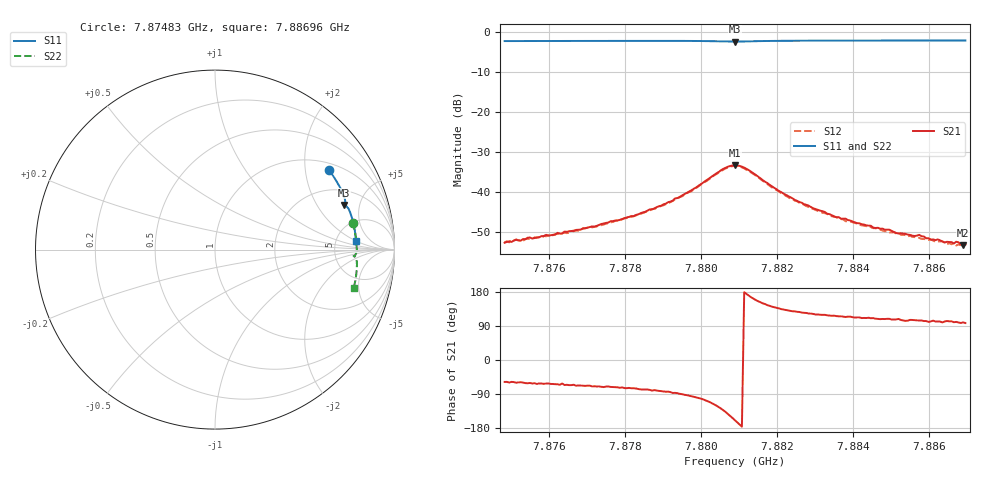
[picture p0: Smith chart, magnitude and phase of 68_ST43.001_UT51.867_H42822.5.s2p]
#  HZ  S  DB  R  50.00
! Rohde & Schwarz Vector Network Analyzer
! Rohde-Schwarz,ZNB20-2Port,1311601062101988,3.16
! Created: UTC 1/12/2023, 6:34:13 PM
! freq[Hz]  db:S11  ang:S11  db:S21  ang:S21  db:S12  ang:S12  db:S22  ang:S22
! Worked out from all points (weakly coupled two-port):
!   201 points, 7.87483 GHz to 7.88696 GHz, reference 50 ohm
!   highest |S21| = -33.33 dB at 7.8809 GHz (marker M1); lowest = -53.4 dB at 7.8869 GHz (marker M2)
!   lowest |S11| = -2.4 dB at 7.8809 GHz (marker M3), VSWR 7.41, Z = 150 + j178 ohm
!   |S11| at or under -10 dB: nowhere
!   |S22| runs from -2.2 to -1.9 dB; largest |S21 - S12| = 0.0014
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7.874832e9  -2.23 35.0  -52.71 -57.8  -52.58 -60.9  -2.15 11.0
7.875802e9  -2.21 32.4  -51.06 -62.1  -51.51 -64.6  -2.11 8.7
7.876894e9  -2.19 29.4  -49.13 -67.8  -49.13 -70.4  -2.09 6.1
7.878229e9  -2.18 25.7  -46.10 -74.6  -46.05 -78.7  -2.06 3.0
7.878896e9  -2.18 23.8  -43.57 -81.5  -43.78 -85.0  -2.05 1.4
7.879745e9  -2.20 21.4  -39.61 -95.1  -39.83 -98.2  -2.06 -0.7
7.880594e9  -2.32 19.2  -34.18 -132.9  -34.40 -136.2  -2.20 -2.6
7.880897e9  -2.36 19.0  -33.33 -159.0  -33.49 -162.6  -2.23 -2.7
7.88114e9  -2.33 18.8  -33.91 178.9  -34.11 175.9  -2.21 -2.7
7.882353e9  -2.15 15.7  -41.31 129.6  -41.61 126.7  -2.01 -5.2
7.882959e9  -2.13 14.1  -44.09 121.5  -44.25 117.8  -1.99 -6.6
7.883687e9  -2.11 12.0  -46.67 115.3  -46.80 112.4  -1.96 -8.3
7.884536e9  -2.10 9.8  -48.94 110.5  -49.06 106.9  -1.95 -10.2
7.884961e9  -2.09 8.7  -49.46 108.7  -50.15 105.1  -1.94 -11.1
7.885204e9  -2.09 8.0  -50.40 108.4  -50.25 102.1  -1.94 -11.7
7.88575e9  -2.08 6.6  -50.74 104.2  -51.51 101.3  -1.93 -12.9
7.886417e9  -2.08 4.9  -52.68 101.6  -52.64 96.6  -1.93 -14.3
7.886477e9  -2.08 4.7  -52.48 102.9  -53.12 97.2  -1.92 -14.5
7.886659e9  -2.08 4.2  -52.91 99.7  -52.79 98.3  -1.92 -14.8
7.88672e9  -2.08 4.1  -52.45 100.5  -53.41 98.0  -1.92 -15.0
7.886902e9  -2.07 3.6  -53.38 99.2  -53.50 94.9  -1.92 -15.4
7.886963e9  -2.07 3.5  -53.17 97.6  -53.57 95.3  -1.92 -15.5
